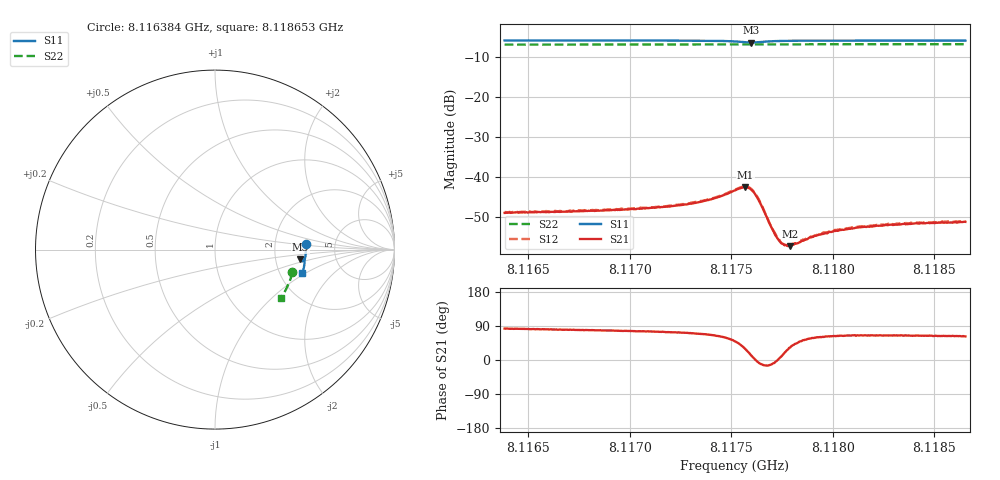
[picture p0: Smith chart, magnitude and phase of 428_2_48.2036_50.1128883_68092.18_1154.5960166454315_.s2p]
#  HZ  S  RI  R  50.00
! Rohde & Schwarz Vector Network Analyzer
! Rohde-Schwarz,ZNB20-2Port,1311601062101988,3.16
! Created: UTC 3/20/2024, 11:55:13 AM
! freq[Hz]  re:S11  im:S11  re:S21  im:S21  re:S12  im:S12  re:S22  im:S22
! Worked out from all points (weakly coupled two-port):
!   401 points, 8.116384 GHz to 8.118653 GHz, reference 50 ohm
!   highest |S21| = -42.58 dB at 8.117569 GHz (marker M1); lowest = -57.3 dB at 8.11779 GHz (marker M2)
!   lowest |S11| = -6.4 dB at 8.117598 GHz (marker M3), VSWR 2.83, Z = 138 - j19.6 ohm
!   |S11| at or under -10 dB: nowhere
!   |S22| runs from -6.9 to -6.8 dB; largest |S21 - S12| = 0.0002
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8.1163839e9  0.5063 0.0299  0.000434 0.00353  0.000495 0.00361  0.4316 -0.1272
8.1167639e9  0.5066 0.000946  0.0007 0.00367  0.000736 0.00373  0.4244 -0.1527
8.1169965e9  0.5059 -0.017  0.000924 0.00383  0.000957 0.00392  0.4192 -0.1681
8.1171439e9  0.5048 -0.0288  0.00114 0.00404  0.00116 0.00411  0.4155 -0.1775
8.1172744e9  0.5032 -0.0402  0.00143 0.00431  0.00148 0.00438  0.4121 -0.1862
8.1173651e9  0.5012 -0.0487  0.00186 0.00465  0.00194 0.00471  0.4096 -0.1922
8.1174332e9  0.498 -0.0558  0.00249 0.005  0.00254 0.00504  0.4075 -0.1963
8.1175183e9  0.4888 -0.0643  0.00444 0.00517  0.00458 0.00521  0.4047 -0.2019
8.1175693e9  0.4778 -0.0622  0.00651 0.00358  0.00667 0.00362  0.4029 -0.2049
8.1175977e9  0.4748 -0.0548  0.0068 0.0015  0.00697 0.00145  0.4021 -0.2061
8.1176147e9  0.4764 -0.0502  0.00626 0.000274  0.00637 0.000224  0.4017 -0.207
8.1176317e9  0.4801 -0.047  0.00528 -0.000531  0.00543 -0.000585  0.4015 -0.2078
8.1176997e9  0.4935 -0.0502  0.00225 -0.000441  0.00224 -0.000512  0.4 -0.2122
8.1177224e9  0.4957 -0.0531  0.00179 -8.98e-05  0.00182 -8.19e-05  0.3993 -0.2139
8.1177338e9  0.4963 -0.0548  0.00162 8.89e-05  0.00165 7.88e-05  0.3992 -0.2145
8.1177565e9  0.4975 -0.0576  0.0014 0.000386  0.0014 0.000375  0.3984 -0.216
8.1177905e9  0.4984 -0.0617  0.00114 0.000749  0.00121 0.000776  0.3974 -0.2182
8.1178982e9  0.4989 -0.0727  0.000931 0.00151  0.000981 0.0015  0.394 -0.2252
8.118023e9  0.4979 -0.0837  0.000941 0.0019  0.000958 0.00198  0.39 -0.2329
8.1181308e9  0.4964 -0.0926  0.001 0.00212  0.00104 0.00218  0.3862 -0.2395
8.1182782e9  0.4942 -0.1041  0.00108 0.00229  0.00108 0.00228  0.381 -0.2485
8.1186526e9  0.4874 -0.1319  0.00128 0.00243  0.00126 0.00247  0.367 -0.2707
